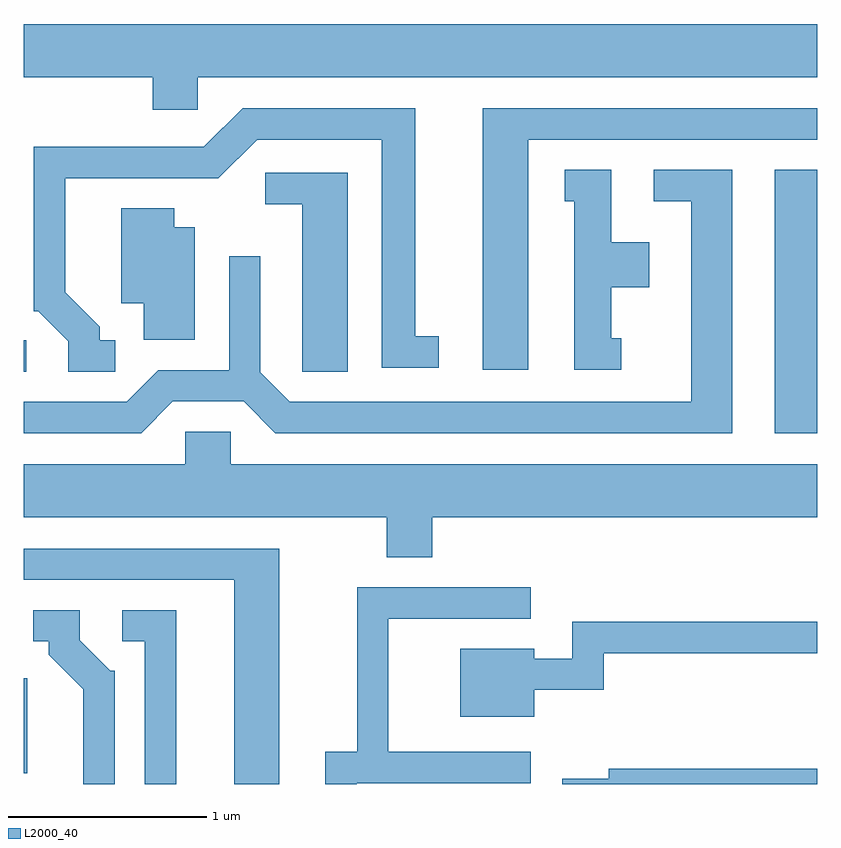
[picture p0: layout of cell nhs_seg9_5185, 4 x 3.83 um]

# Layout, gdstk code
import gdstk
lib = gdstk.Library(unit=1e-6, precision=1e-09)
def R(c, l, rs):  # rectangles x0, y0, x1, y1
    for r in rs: c.add(gdstk.rectangle(r[:2], r[2:], *l))
def P(c, l, *ps):  # polygons
    for p in ps: c.add(gdstk.Polygon(p, *l))
L2000_40 = (2000, 40)

nhs_seg9_5185 = lib.new_cell('nhs_seg9_5185')
R(nhs_seg9_5185, L2000_40, [(337.611,2030.486,337.629,2030.964), (341.396,2032.201,341.611,2033.529), (337.611,2032.511,337.623,2032.669)])
P(nhs_seg9_5185, L2000_40, [(338.489,2033.996),(341.611,2033.996),(341.611,2034.264),(337.611,2034.264),(337.611,2033.996),(338.261,2033.996),(338.261,2033.831),(338.489,2033.831)],
  [(338.073,2032.669),(337.994,2032.669),(337.994,2032.737),(337.819,2032.912),(337.819,2033.486),(338.592,2033.486),(338.787,2033.681),(339.416,2033.681),(339.416,2032.531),(339.703,2032.531),(339.703,2032.689),(339.584,2032.689),(339.584,2033.839),(338.714,2033.839),(338.519,2033.644),(337.661,2033.644),(337.661,2032.816),(337.684,2032.816),(337.836,2032.664),(337.836,2032.511),(338.073,2032.511)],
  [(340.154,2033.681),(341.611,2033.681),(341.611,2033.839),(339.926,2033.839),(339.926,2032.521),(340.154,2032.521)],
  [(338.362,2032.361),(338.719,2032.361),(338.879,2032.201),(341.184,2032.201),(341.184,2033.529),(340.788,2033.529),(340.788,2033.371),(340.976,2033.371),(340.976,2032.359),(338.952,2032.359),(338.804,2032.507),(338.804,2033.093),(338.646,2033.093),(338.646,2032.519),(338.289,2032.519),(338.129,2032.359),(337.611,2032.359),(337.611,2032.201),(338.202,2032.201)],
  [(340.623,2032.679),(340.574,2032.679),(340.574,2032.936),(340.764,2032.936),(340.764,2033.164),(340.574,2033.164),(340.574,2033.529),(340.338,2033.529),(340.338,2033.371),(340.386,2033.371),(340.386,2032.521),(340.623,2032.521)],
  [(339.244,2033.514),(338.828,2033.514),(338.828,2033.356),(339.016,2033.356),(339.016,2032.511),(339.244,2032.511)],
  [(338.474,2033.239),(338.369,2033.239),(338.369,2033.334),(338.101,2033.334),(338.101,2032.856),(338.216,2032.856),(338.216,2032.671),(338.474,2032.671)],
  [(339.669,2031.776),(341.611,2031.776),(341.611,2032.044),(338.654,2032.044),(338.654,2032.209),(338.426,2032.209),(338.426,2032.044),(337.611,2032.044),(337.611,2031.776),(339.441,2031.776),(339.441,2031.576),(339.669,2031.576)],
  [(338.899,2031.619),(337.611,2031.619),(337.611,2031.461),(338.671,2031.461),(338.671,2030.432),(338.899,2030.432)],
  [(339.289,2030.436),(340.168,2030.436),(340.168,2030.594),(339.449,2030.594),(339.449,2031.266),(340.168,2031.266),(340.168,2031.424),(339.291,2031.424),(339.291,2030.594),(339.131,2030.594),(339.131,2030.432),(339.289,2030.432)],
  [(338.379,2031.309),(338.108,2031.309),(338.108,2031.151),(338.221,2031.151),(338.221,2030.432),(338.379,2030.432)],
  [(338.069,2031.004),(338.047,2031.004),(337.894,2031.157),(337.894,2031.309),(337.658,2031.309),(337.658,2031.151),(337.736,2031.151),(337.736,2031.084),(337.911,2030.909),(337.911,2030.432),(338.069,2030.432)],
  [(340.184,2030.906),(340.534,2030.906),(340.534,2031.091),(341.611,2031.091),(341.611,2031.249),(340.376,2031.249),(340.376,2031.064),(340.184,2031.064),(340.184,2031.114),(339.811,2031.114),(339.811,2030.771),(340.184,2030.771)],
  [(341.611,2030.509),(340.561,2030.509),(340.561,2030.459),(340.326,2030.459),(340.326,2030.432),(341.611,2030.432)])

lib.write_gds('nhs_seg9_5185.gds')
